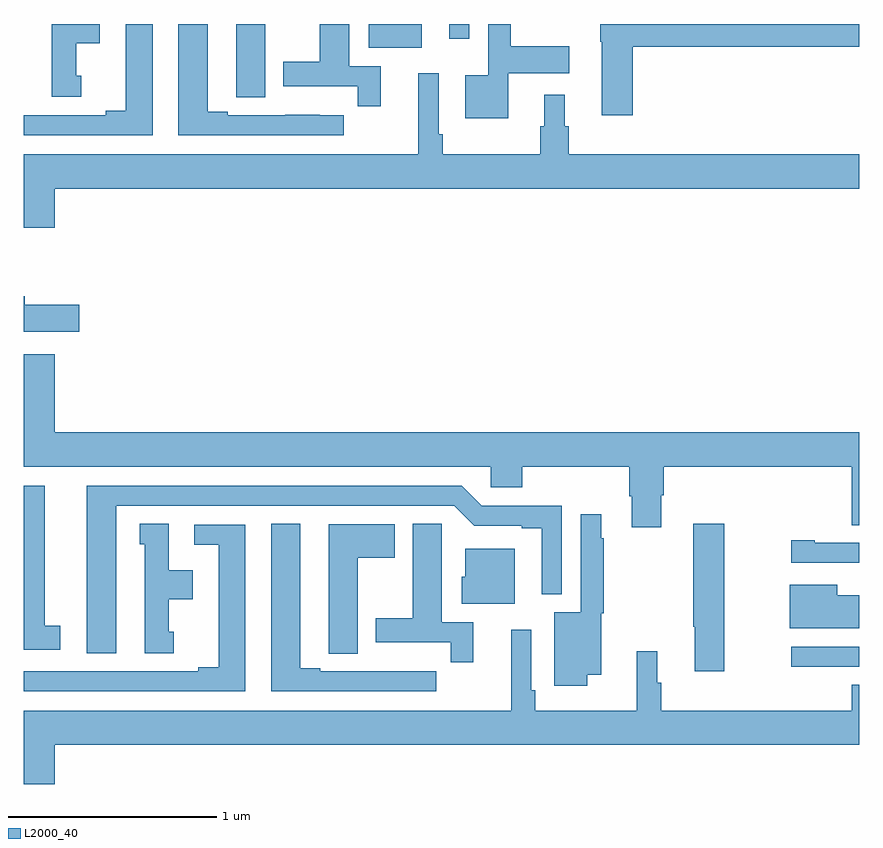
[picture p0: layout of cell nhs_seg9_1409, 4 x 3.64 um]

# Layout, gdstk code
import gdstk
lib = gdstk.Library(unit=1e-6, precision=1e-09)
def R(c, l, rs):  # rectangles x0, y0, x1, y1
    for r in rs: c.add(gdstk.rectangle(r[:2], r[2:], *l))
def P(c, l, *ps):  # polygons
    for p in ps: c.add(gdstk.Polygon(p, *l))
L2000_40 = (2000, 40)

nhs_seg9_1409 = lib.new_cell('nhs_seg9_1409')
R(nhs_seg9_1409, L2000_40, [(192.675,1235.421,193,1235.517), (190.652,1238.387,190.906,1238.5), (191.036,1238.43,191.133,1238.5)])
P(nhs_seg9_1409, L2000_40, [(189.274,1238.253),(189.25,1238.253),(189.25,1238.408),(189.364,1238.408),(189.364,1238.5),(189.134,1238.5),(189.134,1238.151),(189.274,1238.151)],
  [(191.32,1238.264),(191.611,1238.264),(191.611,1238.394),(191.332,1238.394),(191.332,1238.5),(191.223,1238.5),(191.223,1238.254),(191.114,1238.254),(191.114,1238.048),(191.32,1238.048)],
  [(190.156,1238.5),(190.016,1238.5),(190.016,1238.257),(190.017,1238.257),(190.017,1238.149),(190.156,1238.149)],
  [(190.709,1238.298),(190.558,1238.298),(190.558,1238.5),(190.418,1238.5),(190.418,1238.319),(190.241,1238.319),(190.241,1238.202),(190.6,1238.202),(190.6,1238.106),(190.709,1238.106)],
  [(191.915,1238.392),(193,1238.392),(193,1238.5),(191.761,1238.5),(191.761,1238.415),(191.768,1238.415),(191.768,1238.064),(191.915,1238.064)],
  [(189.616,1238.5),(189.488,1238.5),(189.488,1238.084),(189.392,1238.084),(189.392,1238.064),(189,1238.064),(189,1237.968),(189.616,1237.968)],
  [(190.531,1238.064),(190.418,1238.064),(190.418,1238.065),(190.252,1238.065),(190.252,1238.064),(189.976,1238.064),(189.976,1238.079),(189.88,1238.079),(189.88,1238.5),(189.74,1238.5),(189.74,1237.968),(190.531,1237.968)],
  [(189.148,1237.712),(193,1237.712),(193,1237.876),(191.609,1237.876),(191.609,1238.01),(191.59,1238.01),(191.59,1238.161),(191.492,1238.161),(191.492,1238.01),(191.473,1238.01),(191.473,1237.876),(191.006,1237.876),(191.006,1237.972),(190.986,1237.972),(190.986,1238.263),(190.889,1238.263),(190.889,1237.876),(189,1237.876),(189,1237.524),(189.148,1237.524)],
  [(189.265,1237.155),(189.004,1237.155),(189.004,1237.196),(189,1237.196),(189,1237.025),(189.265,1237.025)],
  [(192.052,1236.243),(192.065,1236.243),(192.065,1236.38),(192.965,1236.38),(192.965,1236.1),(193,1236.1),(193,1236.544),(189.148,1236.544),(189.148,1236.919),(189,1236.919),(189,1236.38),(191.235,1236.38),(191.235,1236.282),(191.387,1236.282),(191.387,1236.38),(191.9,1236.38),(191.9,1236.238),(191.912,1236.238),(191.912,1236.09),(192.052,1236.09)],
  [(189.175,1235.618),(189.1,1235.618),(189.1,1236.288),(189,1236.288),(189,1235.502),(189.175,1235.502)],
  [(189.442,1236.192),(191.061,1236.192),(191.157,1236.096),(191.384,1236.096),(191.384,1236.084),(191.48,1236.084),(191.48,1235.768),(191.577,1235.768),(191.577,1236.192),(191.193,1236.192),(191.097,1236.288),(189.302,1236.288),(189.302,1235.487),(189.442,1235.487)],
  [(191.698,1235.384),(191.764,1235.384),(191.764,1235.679),(191.776,1235.679),(191.776,1236.038),(191.764,1236.038),(191.764,1236.151),(191.667,1236.151),(191.667,1235.683),(191.54,1235.683),(191.54,1235.331),(191.698,1235.331)],
  [(190.975,1235.4),(190.862,1235.4),(190.862,1235.401),(190.696,1235.401),(190.696,1235.4),(190.42,1235.4),(190.42,1235.415),(190.324,1235.415),(190.324,1236.107),(190.184,1236.107),(190.184,1235.304),(190.975,1235.304)],
  [(189.718,1235.589),(189.694,1235.589),(189.694,1235.744),(189.808,1235.744),(189.808,1235.884),(189.694,1235.884),(189.694,1236.107),(189.554,1236.107),(189.554,1236.009),(189.578,1236.009),(189.578,1235.487),(189.718,1235.487)],
  [(191.153,1235.634),(191.002,1235.634),(191.002,1235.996),(191.001,1235.996),(191.001,1236.107),(190.862,1236.107),(190.862,1235.655),(190.685,1235.655),(190.685,1235.538),(191.044,1235.538),(191.044,1235.442),(191.153,1235.442)],
  [(192.354,1236.106),(192.205,1236.106),(192.205,1235.612),(192.212,1235.612),(192.212,1235.4),(192.354,1235.4)],
  [(190.6,1235.944),(190.777,1235.944),(190.777,1236.103),(190.46,1236.103),(190.46,1235.593),(190.461,1235.593),(190.461,1235.485),(190.6,1235.485)],
  [(190.06,1236.102),(189.816,1236.102),(189.816,1236.006),(189.932,1236.006),(189.932,1235.42),(189.836,1235.42),(189.836,1235.4),(189,1235.4),(189,1235.304),(190.06,1235.304)],
  [(193,1236.015),(192.787,1236.015),(192.787,1236.028),(192.675,1236.028),(192.675,1235.919),(193,1235.919)],
  [(191.35,1235.986),(191.114,1235.986),(191.114,1235.853),(191.096,1235.853),(191.096,1235.723),(191.35,1235.723)],
  [(193,1235.764),(192.895,1235.764),(192.895,1235.815),(192.668,1235.815),(192.668,1235.606),(193,1235.606)],
  [(193,1235.336),(192.965,1235.336),(192.965,1235.212),(192.053,1235.212),(192.053,1235.346),(192.034,1235.346),(192.034,1235.497),(191.935,1235.497),(191.935,1235.212),(191.45,1235.212),(191.45,1235.308),(191.43,1235.308),(191.43,1235.599),(191.333,1235.599),(191.333,1235.212),(189,1235.212),(189,1234.86),(189.148,1234.86),(189.148,1235.048),(193,1235.048)])

lib.write_gds('nhs_seg9_1409.gds')
